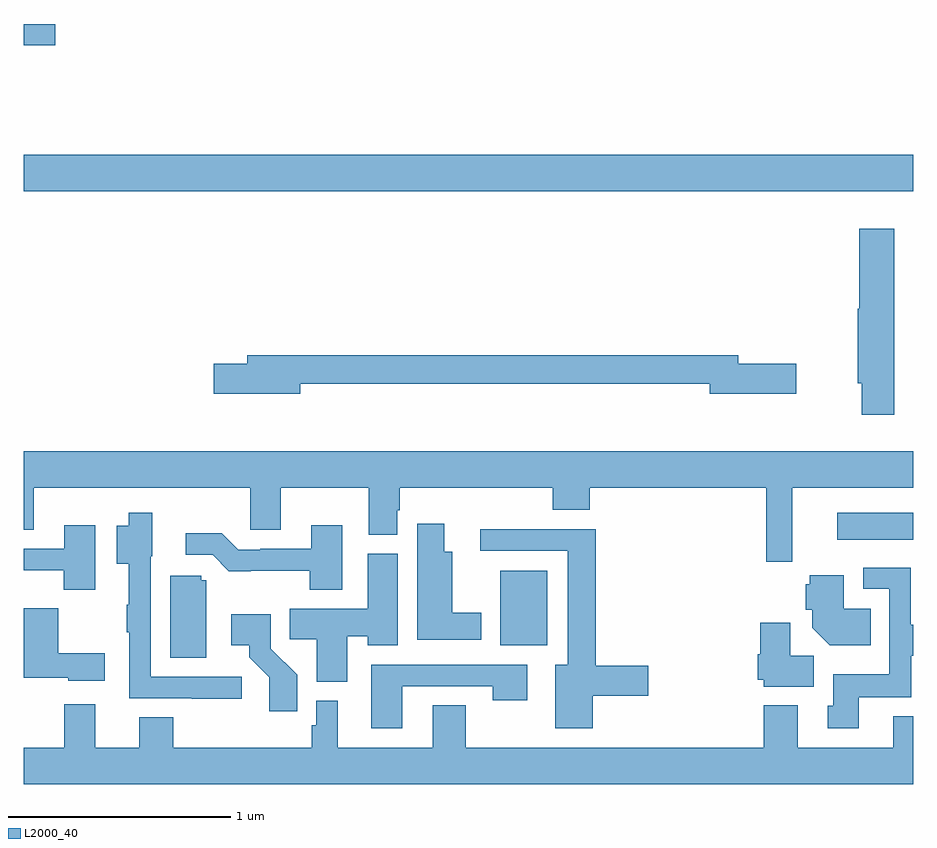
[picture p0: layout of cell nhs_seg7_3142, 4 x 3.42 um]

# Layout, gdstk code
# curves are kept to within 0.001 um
import gdstk
lib = gdstk.Library(unit=1e-6, precision=1e-09)
def R(c, l, rs):  # rectangles x0, y0, x1, y1
    for r in rs: c.add(gdstk.rectangle(r[:2], r[2:], *l))
def P(c, l, *ps):  # polygons
    for p in ps: c.add(gdstk.Polygon(p, *l))
L2000_40 = (2000, 40)

nhs_seg7_3142 = lib.new_cell('nhs_seg7_3142')
R(nhs_seg7_3142, L2000_40, [(313.142,1033.208,313.354,1033.543), (314.658,1033.682,315,1033.804), (311,1035.248,315,1035.412), (311,1035.904,311.143,1036)])
P(nhs_seg7_3142, L2000_40, [(314.914,1035.079),(314.756,1035.079),(314.756,1034.721),(314.75,1034.721),(314.75,1034.385),(314.768,1034.385),(314.768,1034.244),(314.914,1034.244)],
  [(312.244,1034.382),(314.084,1034.382),(314.084,1034.339),(314.473,1034.339),(314.473,1034.474),(314.212,1034.474),(314.212,1034.51),(312.005,1034.51),(312.005,1034.474),(311.856,1034.474),(311.856,1034.339),(312.244,1034.339)],
  [(314.456,1033.916),(315,1033.916),(315,1034.08),(311,1034.08),(311,1033.726),(311.047,1033.726),(311.047,1033.916),(312.018,1033.916),(312.018,1033.726),(312.157,1033.726),(312.157,1033.916),(312.551,1033.916),(312.551,1033.705),(312.679,1033.705),(312.679,1033.815),(312.692,1033.815),(312.692,1033.916),(313.379,1033.916),(313.379,1033.817),(313.544,1033.817),(313.544,1033.916),(314.338,1033.916),(314.338,1033.584),(314.456,1033.584)],
  [(311.98,1033.065),(311.571,1033.065),(311.571,1033.608),(311.578,1033.608),(311.578,1033.804),(311.474,1033.804),(311.474,1033.744),(311.42,1033.744),(311.42,1033.574),(311.474,1033.574),(311.474,1033.39),(311.463,1033.39),(311.463,1033.267),(311.475,1033.267),(311.475,1032.969),(311.755,1032.969),(311.755,1032.967),(311.98,1032.967)],
  [(313.057,1033.354),(312.928,1033.354),(312.928,1033.627),(312.892,1033.627),(312.892,1033.753),(312.77,1033.753),(312.77,1033.232),(313.057,1033.232)],
  [(312.433,1033.747),(312.293,1033.747),(312.293,1033.641),(312.064,1033.641),(312.064,1033.638),(311.964,1033.638),(311.891,1033.711),(311.73,1033.711),(311.73,1033.614),(311.85,1033.614),(311.923,1033.541),(312.286,1033.542),(312.286,1033.457),(312.433,1033.457)],
  [(311.323,1033.747),(311.183,1033.747),(311.183,1033.641),(311,1033.641),(311,1033.544),(311.181,1033.544),(311.181,1033.457),(311.323,1033.457)],
  [(313.558,1032.98),(313.807,1032.98),(313.807,1033.115),(313.571,1033.115),(313.571,1033.73),(313.053,1033.73),(313.053,1033.632),(313.445,1033.632),(313.445,1033.12),(313.391,1033.12),(313.391,1032.834),(313.558,1032.834)],
  [(312.454,1033.247),(312.548,1033.247),(312.548,1033.208),(312.682,1033.208),(312.682,1033.62),(312.548,1033.62),(312.548,1033.372),(312.196,1033.372),(312.196,1033.234),(312.317,1033.234),(312.317,1033.043),(312.454,1033.043)],
  [(314.755,1032.974),(314.991,1032.974),(314.991,1033.16),(315,1033.16),(315,1033.3),(314.988,1033.3),(314.988,1033.557),(314.775,1033.557),(314.775,1033.461),(314.892,1033.461),(314.892,1033.078),(314.639,1033.078),(314.639,1032.936),(314.615,1032.936),(314.615,1032.834),(314.755,1032.834)],
  [(314.807,1033.372),(314.686,1033.372),(314.686,1033.522),(314.534,1033.522),(314.534,1033.482),(314.516,1033.482),(314.516,1033.368),(314.546,1033.368),(314.546,1033.286),(314.624,1033.208),(314.807,1033.208)],
  [(311.821,1033.5),(311.799,1033.5),(311.799,1033.521),(311.66,1033.521),(311.66,1033.152),(311.821,1033.152)],
  [(311.365,1033.171),(311.156,1033.171),(311.156,1033.375),(311,1033.375),(311,1033.061),(311.202,1033.061),(311.202,1033.049),(311.365,1033.049)],
  [(312.23,1033.074),(312.111,1033.193),(312.111,1033.348),(311.934,1033.348),(311.934,1033.208),(312.014,1033.208),(312.014,1033.153),(312.105,1033.063),(312.105,1032.912),(312.23,1032.912)],
  [(314.551,1033.16),(314.446,1033.16),(314.446,1033.309),(314.312,1033.309),(314.312,1033.167),(314.299,1033.167),(314.299,1033.053),(314.328,1033.053),(314.328,1033.022),(314.551,1033.022)],
  [(312.703,1033.023),(313.108,1033.023),(313.108,1032.96),(313.264,1032.96),(313.264,1033.119),(312.563,1033.119),(312.563,1032.834),(312.703,1032.834)],
  [(315,1032.889),(314.909,1032.889),(314.909,1032.748),(314.479,1032.748),(314.479,1032.937),(314.327,1032.937),(314.327,1032.748),(312.987,1032.748),(312.987,1032.938),(312.839,1032.938),(312.839,1032.748),(312.412,1032.748),(312.412,1032.958),(312.315,1032.958),(312.315,1032.849),(312.295,1032.849),(312.295,1032.748),(311.672,1032.748),(311.672,1032.884),(311.519,1032.884),(311.519,1032.748),(311.323,1032.748),(311.323,1032.943),(311.183,1032.943),(311.183,1032.748),(311,1032.748),(311,1032.584),(315,1032.584)])

lib.write_gds('nhs_seg7_3142.gds')
